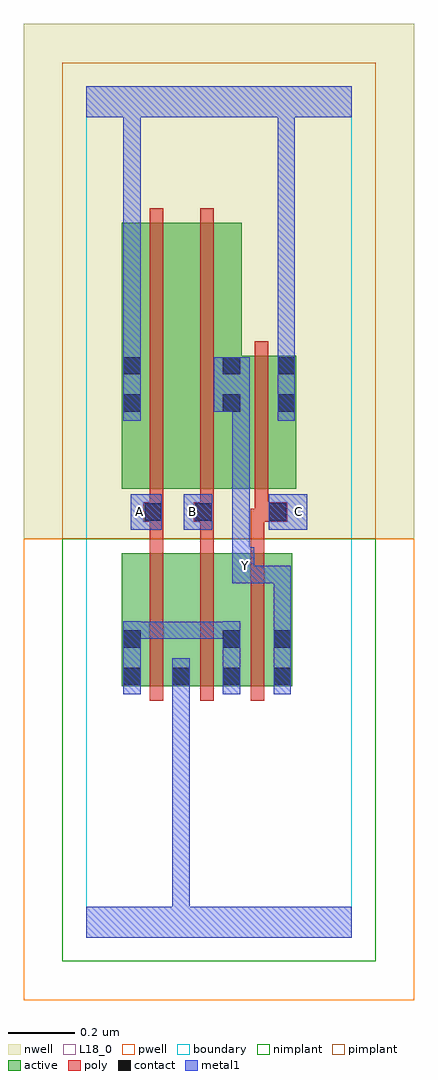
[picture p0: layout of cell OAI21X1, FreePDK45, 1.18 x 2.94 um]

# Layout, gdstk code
import gdstk
lib = gdstk.Library(unit=1e-6, precision=1e-09)
def R(c, l, rs):  # rectangles x0, y0, x1, y1
    for r in rs: c.add(gdstk.rectangle(r[:2], r[2:], *l))
def A(c, l, x, y, w, h, nx, ny, dx, dy):  # array of equal rectangles
    R(c, l, [(x+i*dx, y+j*dy, x+i*dx+w, y+j*dy+h) for i in range(nx) for j in range(ny)])
active = (1, 0)
pwell = (2, 0)
nwell = (3, 0)
nimplant = (4, 0)
pimplant = (5, 0)
poly = (9, 0)
contact = (10, 0)
metal1 = (11, 0)
L18_0 = (18, 0)
boundary = (235, 0)

oai21x1 = lib.new_cell('OAI21X1')
A(oai21x1, active, 0.256, 0.756, 0.06, 0.4, 3, 1, 0.152, 0)
R(oai21x1, active, [(0.108,0.756,0.168,1.156), (0.108,0.756,0.316,1.156), (0.256,0.756,0.468,1.156), (0.408,0.756,0.62,1.156), (0.108,1.35,0.288,2.15), (0.108,1.35,0.168,2.044), (0.288,1.35,0.468,2.15), (0.408,1.35,0.632,1.75), (0.408,1.35,0.468,2.15), (0.572,1.35,0.632,1.75)])
R(oai21x1, pwell, [(-0.188,-0.188,0.988,1.2)])
R(oai21x1, nwell, [(-0.188,1.2,0.988,2.748)])
R(oai21x1, nimplant, [(-0.072,-0.072,0.872,1.2)])
R(oai21x1, pimplant, [(-0.072,1.2,0.872,2.632)])
A(oai21x1, poly, 0.192, 0.712, 0.04, 0.488, 3, 1, 0.152, 0)
A(oai21x1, poly, 0.192, 1.16, 0.04, 0.13, 3, 1, 0.152, 0)
R(oai21x1, poly, [(0.172,1.25,0.232,1.31), (0.192,1.25,0.232,1.29), (0.192,1.25,0.232,1.29), (0.324,1.25,0.384,1.31), (0.496,1.25,0.548,1.29), (0.508,1.25,0.548,1.29), (0.508,1.25,0.606,1.31), (0.192,1.27,0.232,1.346), (0.344,1.27,0.384,1.346), (0.344,1.27,0.384,1.31), (0.344,1.27,0.384,1.31), (0.508,1.27,0.548,1.346), (0.192,1.306,0.232,2.194), (0.344,1.306,0.384,2.194), (0.508,1.306,0.548,1.794)])
A(oai21x1, contact, 0.26, 0.76, 0.052, 0.052, 3, 1, 0.152, 0)
R(oai21x1, contact, [(0.112,0.76,0.164,0.812), (0.112,0.872,0.164,0.924), (0.412,0.872,0.464,0.924), (0.564,0.872,0.616,0.924), (0.176,1.254,0.228,1.306), (0.328,1.254,0.38,1.306), (0.55,1.254,0.602,1.306), (0.112,1.582,0.164,1.634), (0.412,1.582,0.464,1.634), (0.576,1.582,0.628,1.634), (0.112,1.694,0.164,1.746), (0.412,1.694,0.464,1.746), (0.576,1.694,0.628,1.746)])
R(oai21x1, metal1, [(0,0,0.8,0.092), (0.26,0.04,0.312,0.092), (0.26,0.04,0.312,0.092), (0.26,0.04,0.312,0.092), (0.26,0.04,0.312,0.092), (0.26,0.04,0.312,0.092), (0.26,0.04,0.312,0.092), (0.26,0.04,0.312,0.784), (0.112,0.732,0.164,0.952), (0.26,0.732,0.312,0.784), (0.26,0.732,0.312,0.784), (0.26,0.732,0.312,0.784), (0.26,0.732,0.312,0.784), (0.26,0.732,0.312,0.784), (0.26,0.732,0.312,0.784), (0.26,0.732,0.312,0.84), (0.412,0.732,0.464,0.952), (0.564,0.732,0.616,0.952), (0.112,0.898,0.164,0.95), (0.112,0.898,0.164,0.95), (0.112,0.898,0.274,0.95), (0.222,0.898,0.274,0.95), (0.222,0.898,0.464,0.95), (0.412,0.898,0.464,0.95), (0.412,0.898,0.464,0.95), (0.564,0.9,0.616,1.118), (0.44,1.066,0.506,1.174), (0.454,1.066,0.616,1.118), (0.564,1.066,0.616,1.118), (0.564,1.066,0.616,1.118), (0.564,1.066,0.616,1.118), (0.44,1.122,0.492,1.634), (0.134,1.226,0.228,1.334), (0.294,1.226,0.38,1.334), (0.55,1.226,0.666,1.334), (0.112,1.554,0.164,1.774), (0.576,1.554,0.628,1.774), (0.384,1.582,0.492,1.746), (0.44,1.582,0.492,1.634), (0.44,1.582,0.492,1.634), (0.112,1.722,0.164,1.774), (0.112,1.722,0.164,1.774), (0.112,1.722,0.164,1.774), (0.112,1.722,0.164,1.774), (0.112,1.722,0.164,2.52), (0.576,1.722,0.628,1.774), (0.576,1.722,0.628,1.774), (0.576,1.722,0.628,2.52), (0,2.468,0.8,2.56), (0.112,2.468,0.164,2.52), (0.112,2.468,0.164,2.52), (0.112,2.468,0.164,2.52), (0.112,2.468,0.164,2.52), (0.576,2.468,0.628,2.52), (0.576,2.468,0.628,2.52), (0.576,2.468,0.628,2.52), (0.576,2.468,0.628,2.52), (0.576,2.468,0.628,2.52), (0.576,2.468,0.628,2.52), (0.576,2.468,0.628,2.52), (0.576,2.468,0.628,2.52), (0.576,2.468,0.628,2.52), (0.576,2.468,0.628,2.52), (0.576,2.468,0.628,2.52), (0.576,2.468,0.628,2.52), (0.576,2.468,0.628,2.52), (0.576,2.468,0.628,2.52)])
R(oai21x1, L18_0, [(0,0,0.8,0.092), (0.26,0.04,0.312,0.092), (0.26,0.04,0.312,0.092), (0.26,0.04,0.312,0.092), (0.26,0.04,0.312,0.092), (0.26,0.04,0.312,0.092), (0.26,0.04,0.312,0.092), (0.26,0.04,0.312,0.784), (0.26,0.732,0.312,0.784), (0.26,0.732,0.312,0.784), (0.26,0.732,0.312,0.784), (0.26,0.732,0.312,0.784), (0.26,0.732,0.312,0.784), (0.26,0.732,0.312,0.784), (0.26,0.732,0.312,0.84), (0.564,0.732,0.616,0.952), (0.564,0.9,0.616,1.118), (0.44,1.066,0.506,1.174), (0.454,1.066,0.616,1.118), (0.564,1.066,0.616,1.118), (0.564,1.066,0.616,1.118), (0.564,1.066,0.616,1.118), (0.454,1.094,0.506,1.146), (0.44,1.122,0.492,1.634), (0.134,1.226,0.228,1.334), (0.294,1.226,0.38,1.334), (0.55,1.226,0.666,1.334), (0.134,1.254,0.186,1.306), (0.294,1.254,0.346,1.306), (0.614,1.254,0.666,1.306), (0.112,1.554,0.164,1.774), (0.576,1.554,0.628,1.774), (0.384,1.582,0.492,1.746), (0.44,1.582,0.492,1.634), (0.44,1.582,0.492,1.634), (0.112,1.722,0.164,1.774), (0.112,1.722,0.164,1.774), (0.112,1.722,0.164,1.774), (0.112,1.722,0.164,1.774), (0.112,1.722,0.164,2.52), (0.576,1.722,0.628,1.774), (0.576,1.722,0.628,1.774), (0.576,1.722,0.628,2.52), (0,2.468,0.8,2.56), (0.112,2.468,0.164,2.52), (0.112,2.468,0.164,2.52), (0.112,2.468,0.164,2.52), (0.112,2.468,0.164,2.52), (0.576,2.468,0.628,2.52), (0.576,2.468,0.628,2.52), (0.576,2.468,0.628,2.52), (0.576,2.468,0.628,2.52), (0.576,2.468,0.628,2.52), (0.576,2.468,0.628,2.52), (0.576,2.468,0.628,2.52), (0.576,2.468,0.628,2.52), (0.576,2.468,0.628,2.52), (0.576,2.468,0.628,2.52), (0.576,2.468,0.628,2.52), (0.576,2.468,0.628,2.52), (0.576,2.468,0.628,2.52), (0.576,2.468,0.628,2.52)])
R(oai21x1, boundary, [(0,0,0.8,2.56)])
oai21x1.add(gdstk.Label('A', (0.16,1.28), layer=11, texttype=0))
oai21x1.add(gdstk.Label('B', (0.32,1.28), layer=11, texttype=0))
oai21x1.add(gdstk.Label('C', (0.64,1.28), layer=11, texttype=0))
oai21x1.add(gdstk.Label('Y', (0.48,1.12), layer=11, texttype=0))

lib.write_gds('OAI21X1.gds')
